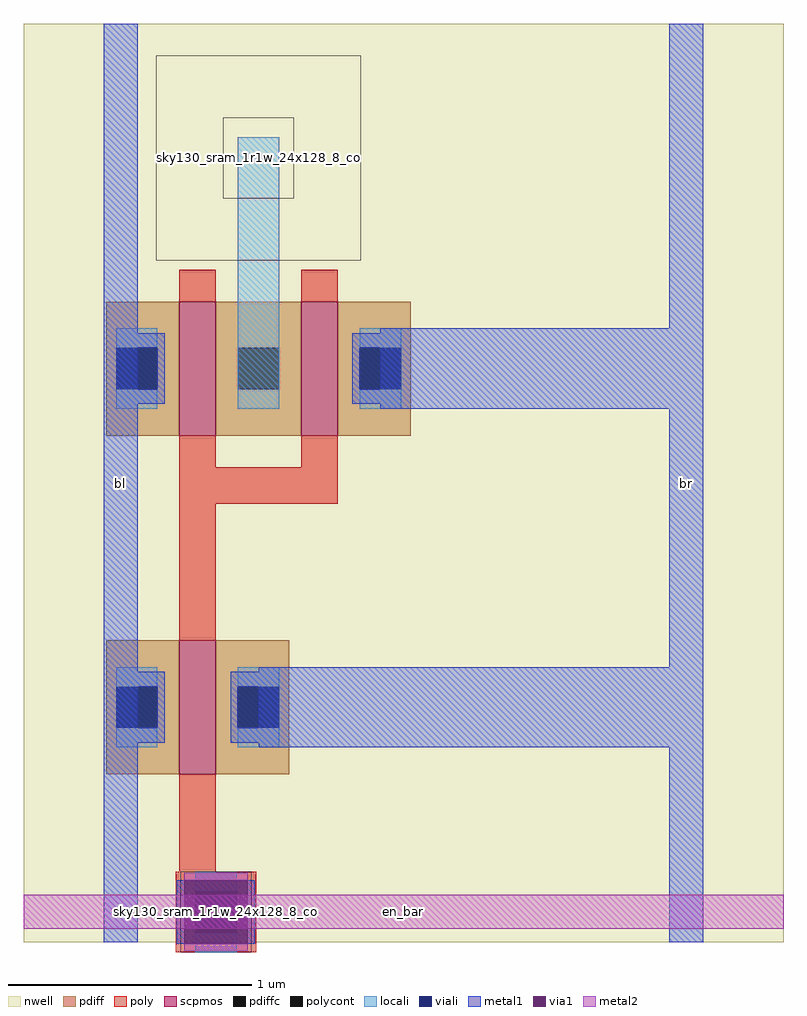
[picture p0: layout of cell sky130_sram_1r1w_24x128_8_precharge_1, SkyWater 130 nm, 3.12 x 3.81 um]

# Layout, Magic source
magic
tech sky130B
magscale 1 2
<< nwell >>
rect 0 0 624 754
<< poly >>
rect 128 360 258 390
rect 128 274 158 360
rect 128 10 158 112
<< locali >>
rect 176 471 210 661
<< metal1 >>
rect 66 0 94 754
rect 530 504 558 754
rect 293 438 558 504
rect 530 226 558 438
rect 193 160 558 226
rect 126 -1 190 51
rect 530 0 558 160
<< metal2 >>
rect 0 11 624 39
use sky130_sram_1r1w_24x128_8_contact_12  sky130_sram_1r1w_24x128_8_contact_12_0
transform 1 0 168 0 1 603
box -59 -43 109 125
use sky130_sram_1r1w_24x128_8_contact_13  sky130_sram_1r1w_24x128_8_contact_13_0
transform 1 0 164 0 1 611
box 0 0 58 66
use sky130_sram_1r1w_24x128_8_contact_13  sky130_sram_1r1w_24x128_8_contact_13_1
transform 1 0 129 0 1 -8
box 0 0 58 66
use sky130_sram_1r1w_24x128_8_contact_15  sky130_sram_1r1w_24x128_8_contact_15_0
transform 1 0 125 0 1 -8
box 0 0 66 66
use sky130_sram_1r1w_24x128_8_contact_18  sky130_sram_1r1w_24x128_8_contact_18_0
transform 1 0 126 0 1 -7
box 0 0 64 64
use sky130_sram_1r1w_24x128_8_contact_23  sky130_sram_1r1w_24x128_8_contact_23_0
transform 1 0 270 0 1 438
box 0 0 46 66
use sky130_sram_1r1w_24x128_8_contact_23  sky130_sram_1r1w_24x128_8_contact_23_1
transform 1 0 70 0 1 438
box 0 0 46 66
use sky130_sram_1r1w_24x128_8_contact_23  sky130_sram_1r1w_24x128_8_contact_23_2
transform 1 0 170 0 1 160
box 0 0 46 66
use sky130_sram_1r1w_24x128_8_contact_23  sky130_sram_1r1w_24x128_8_contact_23_3
transform 1 0 70 0 1 160
box 0 0 46 66
use sky130_sram_1r1w_24x128_8_pmos_m1_w0_550_sli_dli  sky130_sram_1r1w_24x128_8_pmos_m1_w0_550_sli_dli_0
transform 1 0 168 0 1 416
box -59 -54 209 164
use sky130_sram_1r1w_24x128_8_pmos_m1_w0_550_sli_dli  sky130_sram_1r1w_24x128_8_pmos_m1_w0_550_sli_dli_1
transform 1 0 68 0 1 416
box -59 -54 209 164
use sky130_sram_1r1w_24x128_8_pmos_m1_w0_550_sli_dli  sky130_sram_1r1w_24x128_8_pmos_m1_w0_550_sli_dli_2
transform 1 0 68 0 1 138
box -59 -54 209 164
<< labels >>
rlabel metal2 s 0 11 624 39 4 en_bar
port 1 nsew
rlabel locali s 193 644 193 644 4 vdd
port 2 nsew
rlabel metal1 s 66 0 94 754 4 bl
port 3 nsew
rlabel metal1 s 530 0 558 754 4 br
port 4 nsew
<< properties >>
string FIXED_BBOX 0 0 624 754
<< end >>

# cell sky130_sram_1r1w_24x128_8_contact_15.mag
magic
tech sky130B
<< poly >>
rect 0 25 33 33
rect 0 8 8 25
rect 25 8 33 25
rect 0 0 33 8
<< polycont >>
rect 8 8 25 25
<< locali >>
rect 8 25 25 33
rect 8 0 25 8
<< properties >>
string FIXED_BBOX -10 -10 43 43
<< end >>

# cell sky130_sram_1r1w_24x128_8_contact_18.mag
magic
tech sky130B
<< metal1 >>
rect 0 3 3 29
rect 29 3 32 29
<< via1 >>
rect 3 3 29 29
<< metal2 >>
rect 3 29 29 32
rect 3 0 29 3
<< properties >>
string FIXED_BBOX 0 0 32 32
<< end >>

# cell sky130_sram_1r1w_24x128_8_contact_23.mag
magic
tech sky130B
<< locali >>
rect 3 25 20 33
rect 3 0 20 8
<< viali >>
rect 3 8 20 25
<< metal1 >>
rect 0 25 23 31
rect 0 8 3 25
rect 20 8 23 25
rect 0 2 23 8
<< properties >>
string FIXED_BBOX 0 0 23 33
<< end >>

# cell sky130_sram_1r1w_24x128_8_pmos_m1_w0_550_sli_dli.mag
magic
tech sky130B
magscale 1 2
<< nwell >>
rect -54 -54 204 164
<< scpmos >>
rect 60 0 90 110
<< pdiff >>
rect 0 0 60 110
rect 90 0 150 110
<< poly >>
rect 60 110 90 136
rect 60 -26 90 0
<< locali >>
rect 8 22 42 88
rect 108 22 142 88
use sky130_sram_1r1w_24x128_8_contact_11  sky130_sram_1r1w_24x128_8_contact_11_0
transform 1 0 100 0 1 22
box -59 -51 109 117
use sky130_sram_1r1w_24x128_8_contact_11  sky130_sram_1r1w_24x128_8_contact_11_1
transform 1 0 0 0 1 22
box -59 -51 109 117
<< labels >>
rlabel poly s 75 55 75 55 4 G
port 1 nsew
rlabel locali s 25 55 25 55 4 S
port 2 nsew
rlabel locali s 125 55 125 55 4 D
port 3 nsew
<< properties >>
string FIXED_BBOX -54 -54 204 164
<< end >>

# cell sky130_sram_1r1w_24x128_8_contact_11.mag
magic
tech sky130B
magscale 1 2
<< nwell >>
rect -59 -51 109 117
<< pdiff >>
rect 0 50 50 62
rect 0 16 8 50
rect 42 16 50 50
rect 0 4 50 16
<< pdiffc >>
rect 8 16 42 50
<< locali >>
rect 8 50 42 66
rect 8 0 42 16
<< properties >>
string FIXED_BBOX -59 -51 109 117
<< end >>
